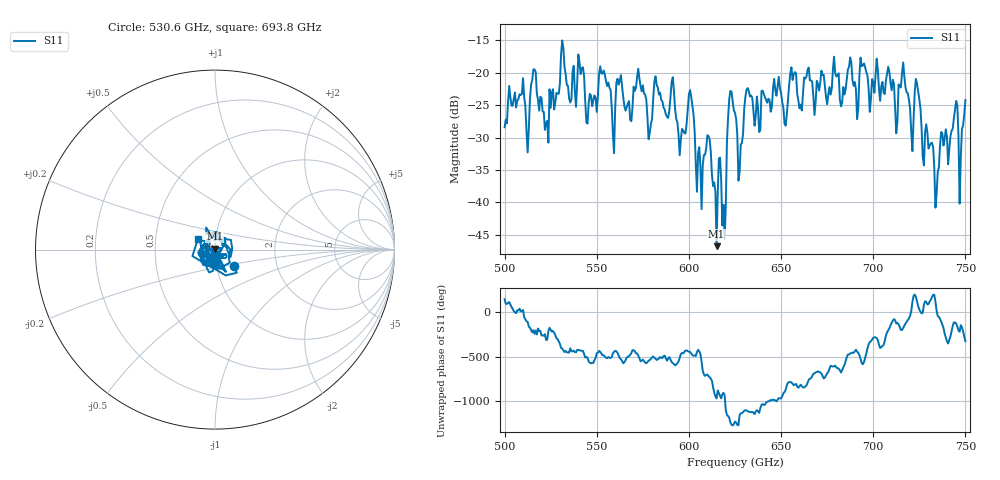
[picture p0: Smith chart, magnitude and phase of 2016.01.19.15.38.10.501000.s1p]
!Created with skrf (http://scikit-rf.org).
# GHz S RI R 50.0
!freq ReS11 ImS11
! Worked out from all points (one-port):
!   401 points, 500 GHz to 750 GHz, reference 50 ohm
!   lowest |S11| = -46.8 dB at 615 GHz (marker M1), VSWR 1.01, Z = 49.8 + j0.432 ohm
!   |S11| at or under -10 dB: start of sweep to end of sweep
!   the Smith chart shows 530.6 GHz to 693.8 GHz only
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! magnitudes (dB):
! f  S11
! 500 GHz  -28.4
! 509.4 GHz  -23.3
! 512.5 GHz  -32.3
! 515.6 GHz  -19.5
! 522.5 GHz  -27.7
! 531.2 GHz  -15.0
! 545 GHz  -27.9
! 562.5 GHz  -21.2
! 578.8 GHz  -29.2
! 581.9 GHz  -20.6
! 591.2 GHz  -20.7
! 593.8 GHz  -27.7
! 601.2 GHz  -23.7
! 605.6 GHz  -31.5
! 610.6 GHz  -29.8
! 615 GHz  -46.8
! 618.8 GHz  -40.4
! 621.9 GHz  -24.0
! 625 GHz  -26.2
! 628.1 GHz  -31.1
! 631.9 GHz  -22.4
! 651.9 GHz  -27.9
! 656.2 GHz  -21.1
! 687.5 GHz  -17.6
! 718.8 GHz  -23.2
! 724.4 GHz  -22.9
! 734.4 GHz  -38.8
! 750 GHz  -24.2
